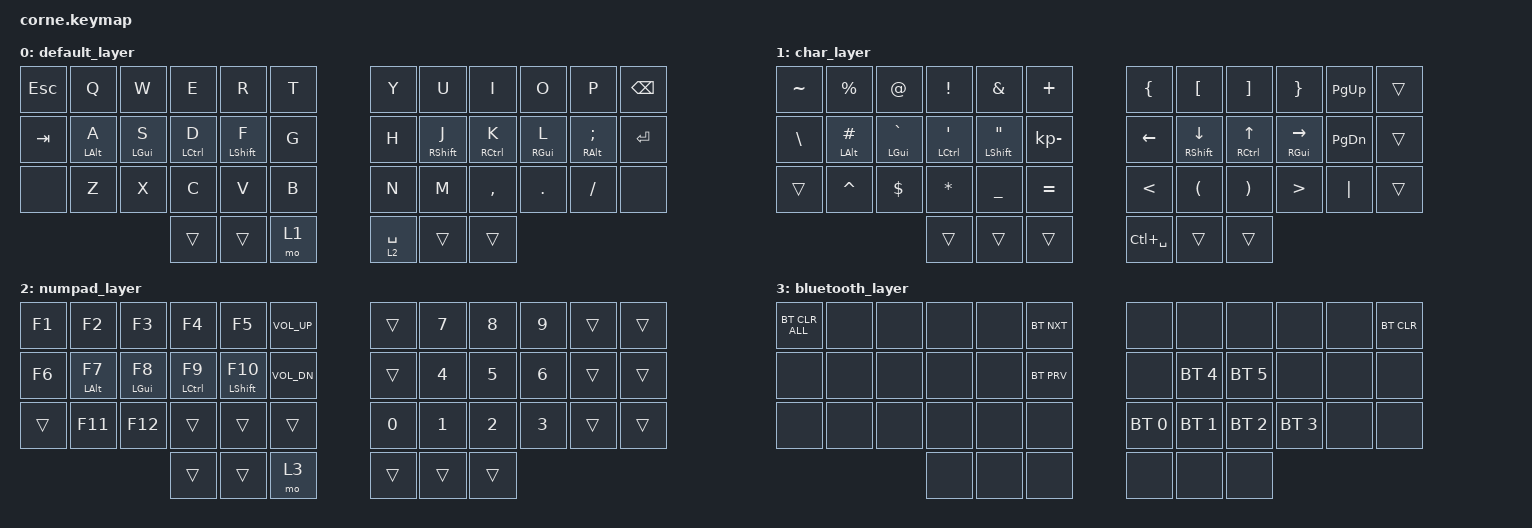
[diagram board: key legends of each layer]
/*
 * Copyright (c) 2020 The ZMK Contributors
 *
 * SPDX-License-Identifier: MIT
 */

#include <behaviors.dtsi>
#include <dt-bindings/zmk/keys.h>
#include <dt-bindings/zmk/bt.h>

#define KEYS_L 0 1 2 3 4 5 12 13 14 15 16 17 24 25 26 27 28 29 
#define KEYS_R 6 7 8 9 10 11 18 19 20 21 22 23 30 31 32 33 34 35 
#define THUMBS_L 36 37 38
#define THUMBS_R 39 40 41

/ {
        behaviors {
            hml: home_row_mod_left {
                compatible = "zmk,behavior-hold-tap";
                #binding-cells = <2>;
                flavor = "balanced";
                require-prior-idle-ms = <100>;
                tapping-term-ms = <300>;
                quick-tap-ms = <175>;
                bindings = <&kp>, <&kp>;
                hold-trigger-key-positions = < KEYS_R THUMBS_R >;
                hold-trigger-on-release;
            };
            hmr: home_row_mod_right {
                compatible = "zmk,behavior-hold-tap";
                #binding-cells = <2>;
                flavor = "balanced";
                require-prior-idle-ms = <100>;
                tapping-term-ms = <300>;
                quick-tap-ms = <175>;
                bindings = <&kp>, <&kp>;
                hold-trigger-key-positions = < KEYS_L THUMBS_L >;
                hold-trigger-on-release;
            };
            thmbshft: space_shift {
                compatible = "zmk,behavior-hold-tap";
                #binding-cells = <2>;
                flavor = "balanced";
                require-prior-idle-ms = <100>;
                tapping-term-ms = <300>;
                quick-tap-ms = <175>;
                bindings = <&mo>, <&kp>;
                hold-trigger-key-positions = < KEYS_R THUMBS_R >;
                hold-trigger-on-release;
            };
        };
        keymap {
                compatible = "zmk,keymap";

                default_layer {
// -----------------------------------------------------------------------------------------
                        bindings = <
   &kp ESC  &kp Q         &kp W          &kp E        &kp R         &kp T       &kp Y               &kp U         &kp I        &kp O          &kp P            &kp BSPC
   &kp TAB  &hml LALT A   &hml LGUI S    &hml LCTRL D &hml LSHFT F  &kp G       &kp H               &hmr RSHFT J  &hmr RCTRL K &hmr RGUI L    &hmr RALT SEMI   &kp ENTER
   &none    &kp Z         &kp X          &kp C        &kp V         &kp B       &kp N               &kp M         &kp COMMA    &kp DOT        &kp FSLH         &none
                                         &trans       &trans        &mo 1       &thmbshft 2 SPACE  &trans        &trans
                        >;
                };

                char_layer {
// -----------------------------------------------------------------------------------------
                        bindings = <
   &kp TILDE  &kp PRCNT        &kp AT            &kp EXCL         &kp AMPS         &kp PLUS              &kp LBRC       &kp LBKT         &kp RBKT      &kp RBRC          &kp PG_UP   &trans
   &kp BSLH   &hml LALT HASH   &hml LGUI GRAVE   &hml LCTRL APOS  &hml LSHFT DQT   &kp KP_MINUS          &kp LEFT       &hmr RSHFT DOWN  &hmr RCTRL UP &hmr RGUI RIGHT   &kp PG_DN   &trans
   &trans     &kp CARET        &kp DLLR          &kp ASTRK        &kp UNDER        &kp EQUAL             &kp LT         &kp LPAR         &kp RPAR      &kp GT            &kp PIPE    &trans
                                                 &trans           &trans           &trans                &kp LC(SPACE)  &trans           &trans
                        >;
                };

                numpad_layer {
// -----------------------------------------------------------------------------------------
                        bindings = <
   &kp F1  &kp F2         &kp F3         &kp F4         &kp F5          &kp K_VOL_UP       &trans   &kp N7   &kp N8  &kp N9  &trans  &trans
   &kp F6  &hml LALT F7   &hml LGUI F8   &hml LCTRL F9  &hml LSHFT F10  &kp K_VOL_DN       &trans   &kp N4   &kp N5  &kp N6  &trans  &trans
   &trans  &kp F11        &kp F12        &trans         &trans          &trans             &kp N0   &kp N1   &kp N2  &kp N3  &trans  &trans
                             &trans  &trans   &mo 3              &trans   &trans   &trans
                        >;
                };
                bluetooth_layer {
// -----------------------------------------------------------------------------------------
                        bindings = <
   &bt BT_CLR_ALL  &none   &none   &none   &none   &bt BT_NXT           &none         &none         &none         &none         &none   &bt BT_CLR
   &none           &none   &none   &none   &none   &bt BT_PRV           &none         &bt BT_SEL 4  &bt BT_SEL 5  &none         &none   &none
   &none           &none   &none   &none   &none   &none                &bt BT_SEL 0  &bt BT_SEL 1  &bt BT_SEL 2  &bt BT_SEL 3  &none   &none
                                   &none   &none   &none                &none         &none   &none
                        >;
                };
        };
};

